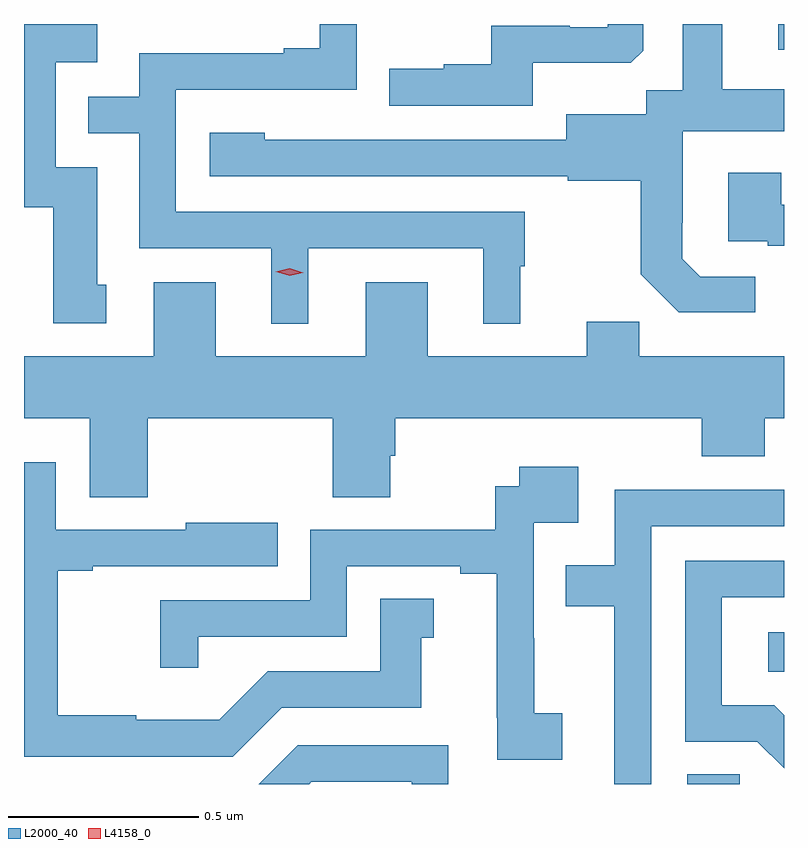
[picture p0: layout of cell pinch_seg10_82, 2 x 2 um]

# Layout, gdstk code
import gdstk
lib = gdstk.Library(unit=1e-6, precision=1e-09)
def R(c, l, rs):  # rectangles x0, y0, x1, y1
    for r in rs: c.add(gdstk.rectangle(r[:2], r[2:], *l))
def P(c, l, *ps):  # polygons
    for p in ps: c.add(gdstk.Polygon(p, *l))
L2000_40 = (2000, 40)
L4158_0 = (4158, 0)

pinch_seg10_82 = lib.new_cell('pinch_seg10_82')
R(pinch_seg10_82, L2000_40, [(809.231,1312.674,809.37,1312.7), (809.445,1312.97,809.486,1313.074), (809.471,1314.606,809.486,1314.674)])
P(pinch_seg10_82, L2000_40, [(808.825,1314.572),(809.083,1314.572),(809.115,1314.603),(809.115,1314.674),(809.022,1314.674),(809.022,1314.666),(808.922,1314.666),(808.922,1314.669),(808.715,1314.669),(808.715,1314.568),(808.591,1314.568),(808.591,1314.556),(808.447,1314.556),(808.447,1314.459),(808.825,1314.459)],
  [(807.703,1313.988),(807.679,1313.988),(807.679,1314.297),(807.57,1314.297),(807.57,1314.573),(807.679,1314.573),(807.679,1314.674),(807.486,1314.674),(807.486,1314.192),(807.563,1314.192),(807.563,1313.886),(807.703,1313.886)],
  [(808.234,1314.084),(808.694,1314.084),(808.694,1313.885),(808.792,1313.885),(808.792,1314.036),(808.804,1314.036),(808.804,1314.18),(807.885,1314.18),(807.885,1314.501),(808.362,1314.501),(808.362,1314.674),(808.264,1314.674),(808.264,1314.61),(808.169,1314.61),(808.169,1314.597),(807.789,1314.597),(807.789,1314.483),(807.655,1314.483),(807.655,1314.387),(807.789,1314.387),(807.789,1314.084),(808.136,1314.084),(808.136,1313.885),(808.234,1313.885)],
  [(809.41,1314.009),(809.265,1314.009),(809.218,1314.056),(809.218,1314.151),(809.22,1314.151),(809.22,1314.392),(809.486,1314.392),(809.486,1314.502),(809.323,1314.502),(809.323,1314.674),(809.219,1314.674),(809.219,1314.5),(809.124,1314.5),(809.124,1314.436),(808.913,1314.436),(808.913,1314.369),(808.355,1314.369),(808.355,1314.37),(808.119,1314.37),(808.119,1314.388),(807.975,1314.388),(807.975,1314.273),(808.917,1314.273),(808.917,1314.261),(809.109,1314.261),(809.109,1314.015),(809.209,1313.915),(809.41,1313.915)],
  [(809.486,1314.198),(809.479,1314.198),(809.479,1314.283),(809.339,1314.283),(809.339,1314.102),(809.443,1314.102),(809.443,1314.09),(809.486,1314.09)],
  [(807.812,1313.636),(808.298,1313.636),(808.298,1313.428),(808.45,1313.428),(808.45,1313.538),(808.463,1313.538),(808.463,1313.636),(809.27,1313.636),(809.27,1313.537),(809.435,1313.537),(809.435,1313.636),(809.486,1313.636),(809.486,1313.8),(809.105,1313.8),(809.105,1313.891),(808.967,1313.891),(808.967,1313.8),(808.549,1313.8),(808.549,1313.995),(808.385,1313.995),(808.385,1313.8),(807.991,1313.8),(807.991,1313.995),(807.827,1313.995),(807.827,1313.8),(807.486,1313.8),(807.486,1313.636),(807.659,1313.636),(807.659,1313.428),(807.812,1313.428)],
  [(808.164,1312.875),(808.531,1312.875),(808.531,1313.059),(808.564,1313.059),(808.564,1313.162),(808.424,1313.162),(808.424,1312.971),(808.128,1312.971),(808,1312.843),(807.782,1312.843),(807.782,1312.855),(807.575,1312.855),(807.575,1313.235),(807.667,1313.235),(807.667,1313.247),(808.154,1313.247),(808.154,1313.362),(807.911,1313.362),(807.911,1313.343),(807.57,1313.343),(807.57,1313.521),(807.486,1313.521),(807.486,1312.746),(808.035,1312.746)],
  [(808.903,1312.86),(808.829,1312.86),(808.829,1313.057),(808.827,1313.057),(808.827,1313.361),(808.945,1313.361),(808.945,1313.509),(808.789,1313.509),(808.789,1313.457),(808.726,1313.457),(808.726,1313.343),(808.239,1313.343),(808.239,1313.157),(807.844,1313.157),(807.844,1312.98),(807.945,1312.98),(807.945,1313.061),(808.335,1313.061),(808.335,1313.247),(808.634,1313.247),(808.634,1313.227),(808.73,1313.227),(808.73,1312.849),(808.732,1312.849),(808.732,1312.738),(808.903,1312.738)],
  [(809.136,1313.352),(809.486,1313.352),(809.486,1313.448),(809.04,1313.448),(809.04,1313.25),(808.912,1313.25),(808.912,1313.142),(809.039,1313.142),(809.039,1312.674),(809.136,1312.674)],
  [(809.486,1312.855),(809.46,1312.881),(809.322,1312.881),(809.322,1313.166),(809.486,1313.166),(809.486,1313.262),(809.226,1313.262),(809.226,1312.785),(809.415,1312.785),(809.486,1312.715)],
  [(808.242,1312.68),(808.506,1312.68),(808.506,1312.674),(808.602,1312.674),(808.602,1312.776),(808.206,1312.776),(808.104,1312.674),(808.236,1312.674)])
P(pinch_seg10_82, L4158_0, [(808.185,1314.011),(808.149,1314.022),(808.149,1314.022),(808.149,1314.022),(808.185,1314.031),(808.221,1314.02),(808.221,1314.019),(808.221,1314.019)])

lib.write_gds('pinch_seg10_82.gds')
